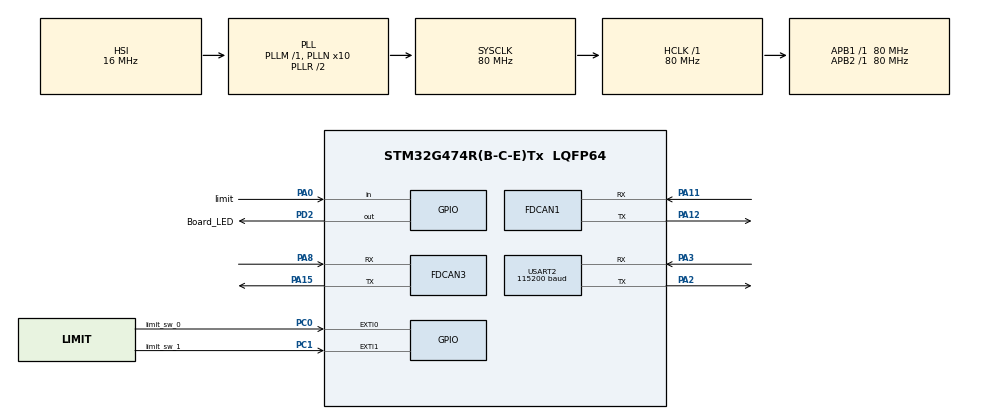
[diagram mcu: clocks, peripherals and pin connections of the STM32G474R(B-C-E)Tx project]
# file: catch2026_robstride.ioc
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FDCAN1.AutoRetransmission=DISABLE
FDCAN1.CalculateBaudRateNominal=1000000
FDCAN1.CalculateTimeQuantumNominal=50.0
FDCAN1.ClockDivider=FDCAN_CLOCK_DIV1
FDCAN1.DataPrescaler=2
FDCAN1.DataSyncJumpWidth=1
FDCAN1.DataTimeSeg1=15
FDCAN1.DataTimeSeg2=4
FDCAN1.ExtFiltersNbr=1
FDCAN1.FrameFormat=FDCAN_FRAME_FD_BRS
FDCAN1.Mode=FDCAN_MODE_NORMAL
FDCAN1.NominalPrescaler=4
FDCAN1.NominalSyncJumpWidth=1
FDCAN1.NominalTimeSeg1=15
FDCAN1.NominalTimeSeg2=4
FDCAN1.ProtocolException=DISABLE
FDCAN1.StdFiltersNbr=0
FDCAN1.TransmitPause=DISABLE
FDCAN1.TxFifoQueueMode=FDCAN_TX_FIFO_OPERATION
FDCAN3.CalculateBaudRateNominal=1000000
FDCAN3.CalculateTimeBitNominal=1000
FDCAN3.CalculateTimeQuantumNominal=50.0
FDCAN3.DataPrescaler=2
FDCAN3.DataTimeSeg1=15
FDCAN3.DataTimeSeg2=4
FDCAN3.ExtFiltersNbr=1
FDCAN3.FrameFormat=FDCAN_FRAME_FD_BRS
FDCAN3.NominalPrescaler=4
FDCAN3.NominalTimeSeg1=15
FDCAN3.NominalTimeSeg2=4
FDCAN3.StdFiltersNbr=1
Mcu.Family=STM32G4
Mcu.Name=STM32G474R(B-C-E)Tx
Mcu.Package=LQFP64
NVIC.EXTI0_IRQn=true\:0\:0\:false\:false\:true\:true\:true\:true
NVIC.EXTI1_IRQn=true\:0\:0\:false\:false\:true\:true\:true\:true
NVIC.FDCAN1_IT0_IRQn=true\:0\:0\:false\:false\:true\:true\:true\:true
NVIC.FDCAN1_IT1_IRQn=true\:0\:0\:false\:false\:true\:true\:true\:true
NVIC.FDCAN3_IT0_IRQn=true\:0\:0\:false\:false\:true\:true\:true\:true
NVIC.FDCAN3_IT1_IRQn=true\:0\:0\:false\:false\:true\:true\:true\:true
NVIC.PriorityGroup=NVIC_PRIORITYGROUP_4
NVIC.TIM6_DAC_IRQn=true\:0\:0\:false\:false\:true\:true\:true\:true
PA0.GPIO_Label=limit
PA0.Signal=GPIO_Input
PA11.Mode=FDCAN_Activate
PA11.Signal=FDCAN1_RX
PA12.Mode=FDCAN_Activate
PA12.Signal=FDCAN1_TX
PA15.Mode=FDCAN_Activate
PA15.Signal=FDCAN3_TX
PA2.Mode=Asynchronous
PA2.Signal=USART2_TX
PA3.Mode=Asynchronous
PA3.Signal=USART2_RX
PA8.Mode=FDCAN_Activate
PA8.Signal=FDCAN3_RX
PC0.GPIO_Label=limit_sw_0
PC0.Signal=GPXTI0
PC1.GPIO_Label=limit_sw_1
PC1.Signal=GPXTI1
PD2.GPIO_Label=Board_LED
PD2.Signal=GPIO_Output
PF0-OSC_IN.Mode=HSE-External-Oscillator
PF0-OSC_IN.Signal=RCC_OSC_IN
PF1-OSC_OUT.Mode=HSE-External-Oscillator
PF1-OSC_OUT.Signal=RCC_OSC_OUT
ProjectManager.HeapSize=0x200
ProjectManager.StackSize=0x400
ProjectManager.TargetToolchain=CMake
RCC.ADC12Freq_Value=80000000
RCC.ADC345Freq_Value=80000000
RCC.AHBFreq_Value=80000000
RCC.APB1Freq_Value=80000000
RCC.APB1TimFreq_Value=80000000
RCC.APB2Freq_Value=80000000
RCC.APB2TimFreq_Value=80000000
RCC.CortexFreq_Value=80000000
RCC.EXTERNAL_CLOCK_VALUE=12288000
RCC.FLatency=FLASH_LATENCY_2
RCC.HCLKFreq_Value=80000000
RCC.HSE_VALUE=8000000
RCC.HSI48_VALUE=48000000
RCC.HSI_VALUE=16000000
RCC.LSE_VALUE=32768
RCC.PLLN=10
RCC.SYSCLKFreq_VALUE=80000000
RCC.SYSCLKSource=RCC_SYSCLKSOURCE_PLLCLK
RCC.USBFreq_Value=80000000
RCC.VCOOutputFreq_Value=160000000
TIM6.AutoReloadPreload=TIM_AUTORELOAD_PRELOAD_DISABLE
TIM6.CounterMode=TIM_COUNTERMODE_UP
TIM6.Dithering=Disable
TIM6.PeriodNoDither=999
TIM6.Prescaler=79
TIM6.TIM_MasterOutputTrigger=TIM_TRGO_RESET
USART2.AutoBaudRateEnableParam=UART_ADVFEATURE_AUTOBAUDRATE_DISABLE
USART2.BaudRate=115200
USART2.ClockPrescaler=PRESCALER_DIV1
USART2.DMADisableonRxErrorParam=ADVFEATURE_DMA_ENABLEONRXERROR
USART2.DataInvertParam=ADVFEATURE_DATAINV_DISABLE
USART2.FIFOMode=FIFOMODE_DISABLE
USART2.MSBFirstParam=ADVFEATURE_MSBFIRST_DISABLE
USART2.Mode=MODE_TX_RX
USART2.OneBitSampling=UART_ONE_BIT_SAMPLE_DISABLE
USART2.OverSampling=UART_OVERSAMPLING_16
USART2.OverrunDisableParam=ADVFEATURE_OVERRUN_ENABLE
USART2.Parity=PARITY_NONE
USART2.RXFIFOThreshold=RXFIFO_THRESHOLD_1EIGHTHFULL
USART2.RxPinLevelInvertParam=ADVFEATURE_RXINV_DISABLE
USART2.StopBits=STOPBITS_1
USART2.SwapParam=ADVFEATURE_SWAP_DISABLE
USART2.TXFIFOThreshold=TXFIFO_THRESHOLD_1EIGHTHFULL
USART2.TxPinLevelInvertParam=ADVFEATURE_TXINV_DISABLE
USART2.VirtualMode-Asynchronous=VM_ASYNC
USART2.WordLength=WORDLENGTH_8B
VP_SYS_VS_DBSignals.Mode=DisableDeadBatterySignals
VP_TIM6_VS_ClockSourceINT.Mode=Enable_Timer
board=custom

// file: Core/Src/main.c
/* USER CODE BEGIN Header */
/**
  ******************************************************************************
  * @file           : main.c
  * @brief          : Main program body
  ******************************************************************************
  * @attention
  *
  * Copyright (c) 2026 STMicroelectronics.
  * All rights reserved.
  *
  * This software is licensed under terms that can be found in the LICENSE file
  * in the root directory of this software component.
  * If no LICENSE file comes with this software, it is provided AS-IS.
  *
  ******************************************************************************
  */
/* USER CODE END Header */
#include "main.h"

/* USER CODE BEGIN Includes */
#include "canrpc_stm32.h"
#include "canrpc_board.h"
#include "canrpc_debug.h"
#include "arm_board.h"
#include <math.h>
#include <stdio.h>

#include "can_init.h"
#include "robstride_app.h"
#include "cybergear.h"
/* USER CODE END Includes */

/* USER CODE BEGIN PM */
#define HOST_ID 0xfe

#define RIGHT_RS03_ID 3
#define LEFT_RS03_ID 4

#define CYBER_GEAR_ID 0x7f

#define RIGHT_RS03_INDEX 0
#define LEFT_RS03_INDEX 1

/* USER CODE END PM */

FDCAN_HandleTypeDef hfdcan1;
FDCAN_HandleTypeDef hfdcan3;

TIM_HandleTypeDef htim6;

UART_HandleTypeDef huart2;

/* USER CODE BEGIN PV */
FDCAN_TxHeaderTypeDef inter_board_txheader;
FDCAN_TxHeaderTypeDef motor_txheader;
RobstrideMotor robstride_handler[2] = {0};
CyberGearMotor cybergear_base;

volatile float target_angle[3] = {0,0,2.0};
static volatile bool motors_ready = false;
static uint8_t current_seq;
static volatile uint32_t axis_rx_count[3];
static uint32_t published_rx_count[3];
static volatile bool reset_stop_queued, reset_stop_confirmed;
/* USER CODE END PV */

void SystemClock_Config(void);
static void MX_GPIO_Init(void);
static void MX_USART2_UART_Init(void);
static void MX_FDCAN1_Init(void);
static void MX_TIM6_Init(void);
static void MX_FDCAN3_Init(void);
/* USER CODE BEGIN PFP */
void u8_to_int(uint8_t *req, int32_t *des, uint32_t uint8_len);
void u8_to_float(uint8_t *req, float *des, uint32_t uint8_len);
void float_to_u8(float *req, uint8_t *des, uint32_t float_len);
void int_to_u8(int32_t *req, uint8_t *des, uint32_t int_len);
/* USER CODE END PFP */

/* USER CODE BEGIN 0 */
static uint8_t arm_initialization_requested;

/* Serialize the reset STOP handshake with cyclic native commands. */
static void arm_reset_monitor(void)
{
  uint32_t mask = __get_PRIMASK();
  __disable_irq();
  if (reset_stop_queued && !reset_stop_confirmed &&
      cybergear_poll_stop_event(&cybergear_base, 0xa5U)) {
    reset_stop_confirmed = true;
    cybergear_base.adrc.active = false;
    cybergear_base.adrc.initialized = false;
  }
  __set_PRIMASK(mask);
}

static int arm_reset_prepare(void)
{
  if (!arm_initialization_requested) return 1;
  uint32_t mask = __get_PRIMASK();
  __disable_irq();
  cybergear_base.preserve_adrc_on_tx_failure = true;
  if (!reset_stop_queued) {
    /* Only cyclic NO_TX_EVENTS frames precede the first reset STOP. */
    (void)cybergear_poll_stop_event(&cybergear_base, 0xa5U);
    reset_stop_queued = cybergear_request_stop_event(&cybergear_base, 0xa5U);
  }
  arm_reset_monitor();
  int prepared = reset_stop_confirmed;
  __set_PRIMASK(mask);
  return prepared;
}

static void arm_reset_hold(void)
{
  arm_reset_monitor();
  if (!reset_stop_confirmed) {
    cybergear_base.preserve_adrc_on_tx_failure = true;
    cybergear_control_position_adrc(&cybergear_base, target_angle[0]);
  }
}

static void arm_control_enable(void);
static uint8_t arm_native_failure(uint8_t *axis);
static void arm_native_latch_fault(uint8_t reason,uint8_t axis);
static void arm_native_poll(void);
static int arm_target_rpc(uint8_t,const uint8_t *,uint8_t,uint8_t *,uint8_t *);
#include "arm_boot.h"
#include "arm_control.h"
#include "arm_debug.h"

void HAL_FDCAN_RxFifo0Callback(FDCAN_HandleTypeDef *hfdcan, uint32_t RxFifo0ITs)
{
  if (hfdcan->Instance != FDCAN3 ||
      (RxFifo0ITs & FDCAN_IT_RX_FIFO0_NEW_MESSAGE) == 0U)
  {
    return;
  }

  while (HAL_FDCAN_GetRxFifoFillLevel(hfdcan, FDCAN_RX_FIFO0) > 0U)
  {
    FDCAN_RxHeaderTypeDef rxheader;
    uint8_t rxdata[8];
    //printf("0x%03lX\r\n",rxheader.Identifier);

    if (HAL_FDCAN_GetRxMessage(hfdcan, FDCAN_RX_FIFO0, &rxheader, rxdata) != HAL_OK)
    {
      break;
    }

    if (rxheader.IdType != FDCAN_EXTENDED_ID ||
        rxheader.RxFrameType != FDCAN_DATA_FRAME ||
        rxheader.DataLength != FDCAN_DLC_BYTES_8 ||
        robstride_get_communication_type(rxheader.Identifier) != FeedbackId ||
        robstride_get_destination_id(rxheader.Identifier) != HOST_ID)
    {
      continue;
    }

    if (cybergear_parse_feedback(
      &cybergear_base,
      rxheader.Identifier,
      rxdata
    ))
    {
      ++axis_rx_count[0];
      continue;
    }

    const uint8_t motor_id = (uint8_t)(robstride_get_area_2(rxheader.Identifier) & 0xffU);
    for (uint32_t i = 0; i < (sizeof(robstride_handler) / sizeof(robstride_handler[0])); i++)
    {
      if (robstride_handler[i].motor_id == motor_id)
      {
        robstride_parse_feedback(rxheader.Identifier, rxdata, &robstride_handler[i].feedback);
        ++axis_rx_count[i == LEFT_RS03_INDEX ? 1U : 2U];
        break;
      }
    }
  }
}

void HAL_FDCAN_RxFifo1Callback(FDCAN_HandleTypeDef *hfdcan, uint32_t RxFifo1ITs)
{
  if (hfdcan->Instance != FDCAN1 ||
      (RxFifo1ITs & FDCAN_IT_RX_FIFO1_NEW_MESSAGE) == 0U)
  {
    return;
  }

  while (HAL_FDCAN_GetRxFifoFillLevel(hfdcan, FDCAN_RX_FIFO1) > 0U)
  {
    FDCAN_RxHeaderTypeDef rxheader;
    uint8_t rxdata[64];

    if (HAL_FDCAN_GetRxMessage(hfdcan, FDCAN_RX_FIFO1, &rxheader, rxdata) != HAL_OK)
    {
      break;
    }

    rpc_management(&rxheader, rxdata);

  }
}

void HAL_GPIO_EXTI_Callback(uint16_t GPIO_Pin)
{
  if (GPIO_Pin == limit_sw_0_Pin) // right
  {

  }
  else if (GPIO_Pin == limit_sw_1_Pin) // left
  {

  }
}

void HAL_TIM_PeriodElapsedCallback(TIM_HandleTypeDef *htim){
  if (htim == &htim6) {
    rpc_poll();
    arm_native_poll();
    if ((!arm_boot_complete && !arm_motion_active) || !motors_ready) return;
    if (rpc_state != CANRPC_READY) {
      arm_reset_monitor();
      static uint8_t reset_hold_phase;
      if (++reset_hold_phase >= 10U) {
        reset_hold_phase = 0U;
        arm_reset_hold();
      }
      return;
    }
    static uint8_t control_phase = 0U;

    /* Stagger three commands across 1 ms ticks; each motor runs at 10 ms. */
    switch (control_phase)
    {
      case 0U:
        cybergear_control_position_adrc(&cybergear_base, target_angle[0]);
        break;
      case 1U:
        robstride_set_position(&robstride_handler[RIGHT_RS03_INDEX], target_angle[2] - 1.884f);
        break;
      case 2U:
        robstride_set_position(&robstride_handler[LEFT_RS03_INDEX], -target_angle[1] - 1.0f);
        break;
      default:
        break;
    }

    control_phase++;
    if (control_phase < 10U)
    {
      return;
    }
    control_phase = 0U;

    for (unsigned i = 0; i < 3U; ++i)
      if (axis_rx_count[i] == published_rx_count[i]) return;
    uint32_t counts[3];
    for (unsigned i = 0; i < 3U; ++i) counts[i] = axis_rx_count[i];
    float send_angles[3];
    uint8_t txdata[12];
    send_angles[2] = robstride_handler[RIGHT_RS03_INDEX].feedback.position_rad + 1.884;
    send_angles[1] = -(robstride_handler[LEFT_RS03_INDEX].feedback.position_rad + 1.0);
    send_angles[0] = cybergear_base.feedback.position_rad;
    for (unsigned i = 0; i < 3U; ++i) canrpc_put_float(txdata + 4U * i, send_angles[i]);
    if (rpc_send(canrpc_publish_id(CANRPC_SUBJECT_CURRENT, CANRPC_NODE_ARM, current_seq, CANRPC_PROJECT_CURRENT_PRIORITY),
                 FDCAN_DLC_BYTES_12, txdata)) {
      current_seq = (current_seq + 1U) & 31U;
      for (unsigned i = 0; i < 3U; ++i) published_rx_count[i] = counts[i];
    }
  }
}
/* USER CODE END 0 */

int main(void)
{

  /* USER CODE BEGIN 1 */
  setbuf(stdout, NULL);

  /* USER CODE END 1 */

  /* MCU Configuration--------------------------------------------------------*/

  /* Reset of all peripherals, Initializes the Flash interface and the Systick. */
  HAL_Init();

  /* Configure the system clock */
  SystemClock_Config();

  /* Initialize all configured peripherals */
  MX_GPIO_Init();
  MX_USART2_UART_Init();
  MX_FDCAN1_Init();
  MX_TIM6_Init();
  MX_FDCAN3_Init();
  /* USER CODE BEGIN 2 */
  debug_uart = &huart2;
  debug_stage = "board-preflight";
  printf("boot node=arm uart=%lu\r\n", (unsigned long)huart2.Init.BaudRate);
  if (!arm_board_config_valid(&hfdcan3, &htim6)) Error_Handler();
  if (!canrpc_board_valid(&hfdcan1, 0)) Error_Handler();
  debug_stage = "rpc-entropy";
  if (!rpc_init(&hfdcan1, CANRPC_NODE_ARM)) Error_Handler();
  rpc_prepare_reset = arm_reset_prepare;
  printf("identity node=%u boot=", (unsigned)rpc_node);
  for (unsigned i = 0; i < sizeof(rpc_boot); ++i) printf("%02x", (unsigned)rpc_boot[i]);
  printf("\r\n");
  debug_stage = "can-start";
  if (inter_board_CAN_RxTxSettings_init(&inter_board_txheader) != HAL_OK) Error_Handler();
  if (!canrpc_board_valid(&hfdcan1, 1)) Error_Handler();
  rpc_poll();
  if (HAL_TIM_Base_Start_IT(&htim6) != HAL_OK) Error_Handler();
  debug_stage = "motor-can-start";
  if(motor_CAN_RxTxSettings_init(&motor_txheader)!=HAL_OK) Error_Handler();
  rpc_service_handler=arm_rpc;
  rpc_service_start=arm_control_start;
  arm_boot_initialize();
  rpc_ready();
  debug_stage = "running";
  printf("boot stage=running rpc=%u\r\n", (unsigned)rpc_state);
  /* USER CODE END 2 */

  /* Infinite loop */
  /* USER CODE BEGIN WHILE */
  uint32_t debug_last_ms = 0U;
  uint8_t debug_last_step = 255U, debug_last_state = 255U;
  while (1)
  {

    /* USER CODE END WHILE */

    /* USER CODE BEGIN 3 */
    arm_reset_monitor();
    debug_drain();
    static uint32_t debug_error_last_ms, debug_error_last_count;
    uint32_t error_now = HAL_GetTick();
    if ((uint32_t)(error_now - debug_error_last_ms) >= 1000U &&
        debug_error_last_count != debug_can_tx_errors) {
      debug_error_last_ms = error_now; debug_error_last_count = debug_can_tx_errors;
      printf("can legacy_tx_error_count=%lu\r\n", (unsigned long)debug_error_last_count);
    }
    static uint32_t debug_can_last_ms, debug_last_psr = UINT32_MAX, debug_last_ecr = UINT32_MAX;
    uint32_t can_now = HAL_GetTick();
    if ((uint32_t)(can_now - debug_can_last_ms) >= 1000U) {
      debug_can_last_ms = can_now;
      /* PSR LEC/DLEC are read-to-clear diagnostics, not recovery actions. */
      uint32_t psr = hfdcan1.Instance->PSR, ecr = hfdcan1.Instance->ECR;
      if (psr != debug_last_psr || ecr != debug_last_ecr) {
        debug_last_psr = psr; debug_last_ecr = ecr;
        printf("can bus=rpc psr=%08lx ecr=%08lx busoff=%u tec=%lu rec=%lu\r\n",
               (unsigned long)psr, (unsigned long)ecr, (unsigned)((psr >> 7U) & 1U),
               (unsigned long)(ecr & 255U), (unsigned long)((ecr >> 8U) & 127U));
      }
    }
    static uint32_t debug_native_last_ms, debug_native_psr = UINT32_MAX, debug_native_ecr = UINT32_MAX;
    uint32_t native_now = HAL_GetTick();
    if ((uint32_t)(native_now - debug_native_last_ms) >= 1000U) {
      debug_native_last_ms = native_now;
      /* PSR LEC/DLEC are read-to-clear diagnostics, not recovery actions. */
      uint32_t psr = hfdcan3.Instance->PSR, ecr = hfdcan3.Instance->ECR;
      if (psr != debug_native_psr || ecr != debug_native_ecr) {
        debug_native_psr = psr; debug_native_ecr = ecr;
        printf("can bus=motor psr=%08lx ecr=%08lx busoff=%u tec=%lu rec=%lu\r\n",
               (unsigned long)psr, (unsigned long)ecr, (unsigned)((psr >> 7U) & 1U),
               (unsigned long)(ecr & 255U), (unsigned long)((ecr >> 8U) & 127U));
      }
    }
    rpc_reset_poll();
    rpc_application_poll();
    arm_boot_poll();
    arm_control_poll();
    const uint32_t now = HAL_GetTick();
    if (debug_last_step != arm_boot_step || debug_last_state != rpc_state ||
        (uint32_t)(now - debug_last_ms) >= 1000U) {
      debug_last_step = arm_boot_step; debug_last_state = rpc_state; debug_last_ms = now;
      uint8_t axes[36];
      uint32_t mask = __get_PRIMASK();
      __disable_irq();
      if (arm_boot_failed) memcpy(axes, arm_fault_snapshot, sizeof(axes));
      else for (unsigned i = 0; i < 3U; ++i) arm_axis_record(axes + i * 12U, i, now);
      __set_PRIMASK(mask);
      printf("arm rpc=%u stage=%u boot_complete=%u reason=%u axis=%u drop=%lu\r\n",
             (unsigned)rpc_state, (unsigned)(arm_initialization_requested ? arm_boot_step : 31U), (unsigned)arm_boot_complete,
             (unsigned)arm_failure_reason, (unsigned)arm_failure_axis, (unsigned long)debug_dropped);
      for (unsigned i = 0; i < 3U; ++i) {
        const uint8_t *a = axes + i * 12U;
        printf("axis=%u id=%u mode=%u fault=%u flags=%u age_ms=%lu cmd=%u response=%u\r\n",
               i, a[3], a[0], a[1], a[2], (unsigned long)canrpc_get_u32(a + 4), a[8], a[9]);
      }
    }
    arm_debug_angles_poll();
    /* Preserve the control cadence while servicing UART without waiting for TXE. */
    uint32_t wait_started = HAL_GetTick();
    while ((uint32_t)(HAL_GetTick() - wait_started) < 10U) debug_drain();

  }
  /* USER CODE END 3 */
}

void SystemClock_Config(void)
{
  RCC_OscInitTypeDef RCC_OscInitStruct = {0};
  RCC_ClkInitTypeDef RCC_ClkInitStruct = {0};

  /** Configure the main internal regulator output voltage
  */
  HAL_PWREx_ControlVoltageScaling(PWR_REGULATOR_VOLTAGE_SCALE1);

  /** Initializes the RCC Oscillators according to the specified parameters
  * in the RCC_OscInitTypeDef structure.
  */
  RCC_OscInitStruct.OscillatorType = RCC_OSCILLATORTYPE_HSI;
  RCC_OscInitStruct.HSIState = RCC_HSI_ON;
  RCC_OscInitStruct.HSICalibrationValue = RCC_HSICALIBRATION_DEFAULT;
  RCC_OscInitStruct.PLL.PLLState = RCC_PLL_ON;
  RCC_OscInitStruct.PLL.PLLSource = RCC_PLLSOURCE_HSI;
  RCC_OscInitStruct.PLL.PLLM = RCC_PLLM_DIV1;
  RCC_OscInitStruct.PLL.PLLN = 10;
  RCC_OscInitStruct.PLL.PLLP = RCC_PLLP_DIV2;
  RCC_OscInitStruct.PLL.PLLQ = RCC_PLLQ_DIV2;
  RCC_OscInitStruct.PLL.PLLR = RCC_PLLR_DIV2;
  if (HAL_RCC_OscConfig(&RCC_OscInitStruct) != HAL_OK)
  {
    Error_Handler();
  }

  /** Initializes the CPU, AHB and APB buses clocks
  */
  RCC_ClkInitStruct.ClockType = RCC_CLOCKTYPE_HCLK|RCC_CLOCKTYPE_SYSCLK
                              |RCC_CLOCKTYPE_PCLK1|RCC_CLOCKTYPE_PCLK2;
  RCC_ClkInitStruct.SYSCLKSource = RCC_SYSCLKSOURCE_PLLCLK;
  RCC_ClkInitStruct.AHBCLKDivider = RCC_SYSCLK_DIV1;
  RCC_ClkInitStruct.APB1CLKDivider = RCC_HCLK_DIV1;
  RCC_ClkInitStruct.APB2CLKDivider = RCC_HCLK_DIV1;

  if (HAL_RCC_ClockConfig(&RCC_ClkInitStruct, FLASH_LATENCY_2) != HAL_OK)
  {
    Error_Handler();
  }
}

static void MX_FDCAN1_Init(void)
{

  hfdcan1.Instance = FDCAN1;
  hfdcan1.Init.ClockDivider = FDCAN_CLOCK_DIV1;
  hfdcan1.Init.FrameFormat = FDCAN_FRAME_FD_BRS;
  hfdcan1.Init.Mode = FDCAN_MODE_NORMAL;
  hfdcan1.Init.AutoRetransmission = DISABLE;
  hfdcan1.Init.TransmitPause = DISABLE;
  hfdcan1.Init.ProtocolException = DISABLE;
  hfdcan1.Init.NominalPrescaler = 4;
  hfdcan1.Init.NominalSyncJumpWidth = 1;
  hfdcan1.Init.NominalTimeSeg1 = 15;
  hfdcan1.Init.NominalTimeSeg2 = 4;
  hfdcan1.Init.DataPrescaler = 2;
  hfdcan1.Init.DataSyncJumpWidth = 1;
  hfdcan1.Init.DataTimeSeg1 = 15;
  hfdcan1.Init.DataTimeSeg2 = 4;
  hfdcan1.Init.StdFiltersNbr = 0;
  hfdcan1.Init.ExtFiltersNbr = 1;
  hfdcan1.Init.TxFifoQueueMode = FDCAN_TX_FIFO_OPERATION;
  if (HAL_FDCAN_Init(&hfdcan1) != HAL_OK)
  {
    Error_Handler();
  }

}

static void MX_FDCAN3_Init(void)
{

  hfdcan3.Instance = FDCAN3;
  hfdcan3.Init.ClockDivider = FDCAN_CLOCK_DIV1;
  hfdcan3.Init.FrameFormat = FDCAN_FRAME_FD_BRS;
  hfdcan3.Init.Mode = FDCAN_MODE_NORMAL;
  hfdcan3.Init.AutoRetransmission = DISABLE;
  hfdcan3.Init.TransmitPause = DISABLE;
  hfdcan3.Init.ProtocolException = DISABLE;
  hfdcan3.Init.NominalPrescaler = 4;
  hfdcan3.Init.NominalSyncJumpWidth = 1;
  hfdcan3.Init.NominalTimeSeg1 = 15;
  hfdcan3.Init.NominalTimeSeg2 = 4;
  hfdcan3.Init.DataPrescaler = 2;
  hfdcan3.Init.DataSyncJumpWidth = 1;
  hfdcan3.Init.DataTimeSeg1 = 15;
  hfdcan3.Init.DataTimeSeg2 = 4;
  hfdcan3.Init.StdFiltersNbr = 1;
  hfdcan3.Init.ExtFiltersNbr = 1;
  hfdcan3.Init.TxFifoQueueMode = FDCAN_TX_FIFO_OPERATION;
  if (HAL_FDCAN_Init(&hfdcan3) != HAL_OK)
  {
    Error_Handler();
  }

}

static void MX_TIM6_Init(void)
{

  TIM_MasterConfigTypeDef sMasterConfig = {0};

  htim6.Instance = TIM6;
  htim6.Init.Prescaler = 79;
  htim6.Init.CounterMode = TIM_COUNTERMODE_UP;
  htim6.Init.Period = 999;
  htim6.Init.AutoReloadPreload = TIM_AUTORELOAD_PRELOAD_DISABLE;
  if (HAL_TIM_Base_Init(&htim6) != HAL_OK)
  {
    Error_Handler();
  }
  sMasterConfig.MasterOutputTrigger = TIM_TRGO_RESET;
  sMasterConfig.MasterSlaveMode = TIM_MASTERSLAVEMODE_DISABLE;
  if (HAL_TIMEx_MasterConfigSynchronization(&htim6, &sMasterConfig) != HAL_OK)
  {
    Error_Handler();
  }

}

static void MX_USART2_UART_Init(void)
{

  huart2.Instance = USART2;
  huart2.Init.BaudRate = 115200;
  huart2.Init.WordLength = UART_WORDLENGTH_8B;
  huart2.Init.StopBits = UART_STOPBITS_1;
  huart2.Init.Parity = UART_PARITY_NONE;
  huart2.Init.Mode = UART_MODE_TX_RX;
  huart2.Init.HwFlowCtl = UART_HWCONTROL_NONE;
  huart2.Init.OverSampling = UART_OVERSAMPLING_16;
  huart2.Init.OneBitSampling = UART_ONE_BIT_SAMPLE_DISABLE;
  huart2.Init.ClockPrescaler = UART_PRESCALER_DIV1;
  huart2.AdvancedInit.AdvFeatureInit = UART_ADVFEATURE_NO_INIT;
  if (HAL_UART_Init(&huart2) != HAL_OK)
  {
    Error_Handler();
  }
  if (HAL_UARTEx_SetTxFifoThreshold(&huart2, UART_TXFIFO_THRESHOLD_1_8) != HAL_OK)
  {
    Error_Handler();
  }
  if (HAL_UARTEx_SetRxFifoThreshold(&huart2, UART_RXFIFO_THRESHOLD_1_8) != HAL_OK)
  {
    Error_Handler();
  }
  if (HAL_UARTEx_DisableFifoMode(&huart2) != HAL_OK)
  {
    Error_Handler();
  }

}

static void MX_GPIO_Init(void)
{
  GPIO_InitTypeDef GPIO_InitStruct = {0};

  /* GPIO Ports Clock Enable */
  __HAL_RCC_GPIOF_CLK_ENABLE();
  __HAL_RCC_GPIOC_CLK_ENABLE();
  __HAL_RCC_GPIOA_CLK_ENABLE();
  __HAL_RCC_GPIOD_CLK_ENABLE();

  /*Configure GPIO pin Output Level */
  HAL_GPIO_WritePin(Board_LED_GPIO_Port, Board_LED_Pin, GPIO_PIN_RESET);

  /*Configure GPIO pins : limit_sw_0_Pin limit_sw_1_Pin */
  GPIO_InitStruct.Pin = limit_sw_0_Pin|limit_sw_1_Pin;
  GPIO_InitStruct.Mode = GPIO_MODE_IT_RISING;
  GPIO_InitStruct.Pull = GPIO_NOPULL;
  HAL_GPIO_Init(GPIOC, &GPIO_InitStruct);

  /*Configure GPIO pin : limit_Pin */
  GPIO_InitStruct.Pin = limit_Pin;
  GPIO_InitStruct.Mode = GPIO_MODE_INPUT;
  GPIO_InitStruct.Pull = GPIO_NOPULL;
  HAL_GPIO_Init(limit_GPIO_Port, &GPIO_InitStruct);

  /*Configure GPIO pin : Board_LED_Pin */
  GPIO_InitStruct.Pin = Board_LED_Pin;
  GPIO_InitStruct.Mode = GPIO_MODE_OUTPUT_PP;
  GPIO_InitStruct.Pull = GPIO_NOPULL;
  GPIO_InitStruct.Speed = GPIO_SPEED_FREQ_LOW;
  HAL_GPIO_Init(Board_LED_GPIO_Port, &GPIO_InitStruct);

  /* EXTI interrupt init*/
  HAL_NVIC_SetPriority(EXTI0_IRQn, 0, 0);
  HAL_NVIC_EnableIRQ(EXTI0_IRQn);

  HAL_NVIC_SetPriority(EXTI1_IRQn, 0, 0);
  HAL_NVIC_EnableIRQ(EXTI1_IRQn);

}

/* USER CODE BEGIN 4 */
void u8_to_float(uint8_t *req, float *des, uint32_t uint8_len)
{
  union IntAndFloat {
    uint32_t ival;
    float fval;
  };
  for(int i = 0; i < uint8_len/4; i++){
    uint32_t f32_u32 = ((req[i*4] << 24) | (req[i*4+1] << 16) | (req[i*4+2] << 8) | (req[i*4+3]));
    union IntAndFloat target;
    target.ival = f32_u32;
    des[i] = target.fval;
  }
}

void u8_to_int(uint8_t *req, int32_t *des, uint32_t uint8_len)
{
  for(int i = 0; i < uint8_len/4; i++){
    uint32_t u32 = ((req[i*4] << 24) | (req[i*4+1] << 16) | (req[i*4+2] << 8) | (req[i*4+3]));
    des[i] = (int32_t)u32;
  }
}

void float_to_u8(float *req, uint8_t *des, uint32_t float_len)
{
  union IntAndFloat {
    uint32_t ival;
    float fval;
  };
  for (int i = 0; i < float_len; i++)
  {
    union IntAndFloat target;
    target.fval = req[i];
    uint32_t val = target.ival;
    des[i*4    ] = (uint8_t)((val >> 24) & 0xff);
    des[i*4 + 1] = (uint8_t)((val >> 16) & 0xff);
    des[i*4 + 2] = (uint8_t)((val >>  8) & 0xff);
    des[i*4 + 3] = (uint8_t)((val      ) & 0xff);
  }
}

void int_to_u8(int32_t *req, uint8_t *des, uint32_t int_len)
{
  for (int i = 0; i < int_len; i++)
  {
    uint32_t val = (uint32_t)req[i];
    des[i*4    ] = (uint8_t)((val >> 24) & 0xff);
    des[i*4 + 1] = (uint8_t)((val >> 16) & 0xff);
    des[i*4 + 2] = (uint8_t)((val >>  8) & 0xff);
    des[i*4 + 3] = (uint8_t)((val      ) & 0xff);
  }
}

int _write(int file,char *ptr,int len)
{
  (void)file;
  return debug_write(ptr, len);
}
/* USER CODE END 4 */

void Error_Handler(void)
{
  /* USER CODE BEGIN Error_Handler_Debug */
  /* User can add his own implementation to report the HAL error return state */
  if (__get_IPSR() == 0U && __get_PRIMASK() == 0U)
    printf("fatal stage=%s\r\n", debug_stage);
  __disable_irq();
  while (1)
  {
    debug_drain();
  }
  /* USER CODE END Error_Handler_Debug */
}
